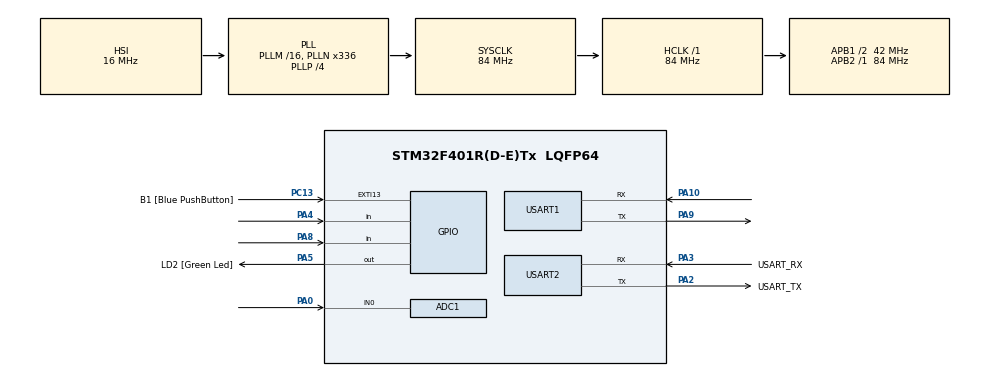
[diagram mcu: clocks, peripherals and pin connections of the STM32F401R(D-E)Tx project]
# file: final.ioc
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ADC1.Channel-1\#ChannelRegularConversion=ADC_CHANNEL_0
ADC1.NbrOfConversionFlag=1
ADC1.Rank-1\#ChannelRegularConversion=1
ADC1.SamplingTime-1\#ChannelRegularConversion=ADC_SAMPLETIME_3CYCLES
ADC1.master=1
Mcu.Family=STM32F4
Mcu.Name=STM32F401R(D-E)Tx
Mcu.Package=LQFP64
NVIC.PriorityGroup=NVIC_PRIORITYGROUP_0
PA0-WKUP.Signal=ADCx_IN0
PA10.Mode=Asynchronous
PA10.Signal=USART1_RX
PA13.GPIO_Label=TMS
PA13.Mode=Serial_Wire
PA13.Signal=SYS_JTMS-SWDIO
PA14.GPIO_Label=TCK
PA14.Mode=Serial_Wire
PA14.Signal=SYS_JTCK-SWCLK
PA2.GPIO_Label=USART_TX
PA2.GPIO_Mode=GPIO_MODE_AF_PP
PA2.GPIO_PuPd=GPIO_NOPULL
PA2.GPIO_Speed=GPIO_SPEED_FREQ_LOW
PA2.Mode=Asynchronous
PA2.Signal=USART2_TX
PA3.GPIO_Label=USART_RX
PA3.GPIO_Mode=GPIO_MODE_AF_PP
PA3.GPIO_PuPd=GPIO_NOPULL
PA3.GPIO_Speed=GPIO_SPEED_FREQ_LOW
PA3.Mode=Asynchronous
PA3.Signal=USART2_RX
PA4.Signal=GPIO_Input
PA5.GPIO_Label=LD2 [Green Led]
PA5.GPIO_Mode=GPIO_MODE_OUTPUT_PP
PA5.GPIO_PuPd=GPIO_NOPULL
PA5.GPIO_Speed=GPIO_SPEED_FREQ_LOW
PA5.Signal=GPIO_Output
PA8.Signal=GPIO_Input
PA9.Mode=Asynchronous
PA9.Signal=USART1_TX
PB3.GPIO_Label=SWO
PB3.Signal=SYS_JTDO-SWO
PC13-ANTI_TAMP.GPIO_Label=B1 [Blue PushButton]
PC13-ANTI_TAMP.GPIO_ModeDefaultEXTI=GPIO_MODE_IT_FALLING
PC13-ANTI_TAMP.GPIO_PuPd=GPIO_NOPULL
PC13-ANTI_TAMP.Signal=GPXTI13
PC14-OSC32_IN.Mode=LSE-External-Oscillator
PC14-OSC32_IN.Signal=RCC_OSC32_IN
PC15-OSC32_OUT.Mode=LSE-External-Oscillator
PC15-OSC32_OUT.Signal=RCC_OSC32_OUT
PH0\ -\ OSC_IN.Mode=HSE-External-Clock-Source
PH0\ -\ OSC_IN.Signal=RCC_OSC_IN
PH1\ -\ OSC_OUT.Mode=HSE-External-Clock-Source
PH1\ -\ OSC_OUT.Signal=RCC_OSC_OUT
ProjectManager.HeapSize=0x200
ProjectManager.StackSize=0x400
ProjectManager.TargetToolchain=STM32CubeIDE
RCC.48MHZClocksFreq_Value=48000000
RCC.AHBFreq_Value=84000000
RCC.APB1CLKDivider=RCC_HCLK_DIV2
RCC.APB1Freq_Value=42000000
RCC.APB1TimFreq_Value=84000000
RCC.APB2Freq_Value=84000000
RCC.APB2TimFreq_Value=84000000
RCC.CortexFreq_Value=84000000
RCC.HCLKFreq_Value=84000000
RCC.HSE_VALUE=8000000
RCC.HSI_VALUE=16000000
RCC.PLLN=336
RCC.PLLP=RCC_PLLP_DIV4
RCC.PLLQ=7
RCC.SYSCLKFreq_VALUE=84000000
RCC.SYSCLKSource=RCC_SYSCLKSOURCE_PLLCLK
RCC.VCOOutputFreq_Value=336000000
SH.ADCx_IN0.0=ADC1_IN0,IN0
USART1.VirtualMode=VM_ASYNC
USART2.VirtualMode=VM_ASYNC
board=NUCLEO-F401RE

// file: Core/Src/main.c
/* USER CODE BEGIN Header */
/**
  ******************************************************************************
  * @file           : main.c
  * @brief          : Main program body
  ******************************************************************************
  * @attention
  *
  * Copyright (c) 2024 STMicroelectronics.
  * All rights reserved.
  *
  * This software is licensed under terms that can be found in the LICENSE file
  * in the root directory of this software component.
  * If no LICENSE file comes with this software, it is provided AS-IS.
  *
  ******************************************************************************
  */
/* USER CODE END Header */
#include "main.h"

/* USER CODE BEGIN Includes */
#include "dht.h"
#include "math.h"
/* USER CODE END Includes */

ADC_HandleTypeDef hadc1;

UART_HandleTypeDef huart1;
UART_HandleTypeDef huart2;

void SystemClock_Config(void);
static void MX_GPIO_Init(void);
static void MX_USART2_UART_Init(void);
static void MX_USART1_UART_Init(void);
static void MX_ADC1_Init(void);

/* USER CODE BEGIN 0 */
DHT_DataTypedef DHT22_Data;
float humidval = 0.0; // 40 to 100
float tempval = 0.0; // -40 to 80
int adcval = 0;
float coa = 19.32, cob = -0.64; //coa *
/* USER CODE END 0 */

int main(void)
{

  /* MCU Configuration--------------------------------------------------------*/

  /* Reset of all peripherals, Initializes the Flash interface and the Systick. */
  HAL_Init();

  /* USER CODE BEGIN Init */
//  char test[] = "p10-20-30";
//  char test2[] = "p69-79-89";
//  char test3[] = "p11-22-33";
  char buf[256];
  char buf2[256];

//  int cnt;
  /* USER CODE END Init */

  /* Configure the system clock */
  SystemClock_Config();

  /* Initialize all configured peripherals */
  MX_GPIO_Init();
  MX_USART2_UART_Init();
  MX_USART1_UART_Init();
  MX_ADC1_Init();

  /* Infinite loop */
  /* USER CODE BEGIN WHILE */
  while (1)
  { //temp, humid, co
	  HAL_ADC_Start(&hadc1);
	  if (HAL_ADC_PollForConversion(&hadc1, 1000) == HAL_OK) {
		  adcval = HAL_ADC_GetValue(&hadc1);
	  }
	  DHT_GetData(&DHT22_Data);
      tempval = DHT22_Data.Temperature;
      humidval = DHT22_Data.Humidity;
      if (humidval > 100) humidval = 100;
      if (humidval < 0) humidval = 0;
      if (tempval > 80) tempval = 80;
      if (tempval < -40) tempval = -40;
      if (HAL_GPIO_ReadPin(GPIOA, GPIO_PIN_8) == 0) {
    	  adcval = 1023;
      }
      //vout = (adcval /1023) * 5
      //ratio = (5 - vout) / vout
      //ppm = coa * ratio^cob
      float vout = (adcval/1023.0) * 5.0;
      float ratio = (5.0 - vout) / vout;
      float ppm = coa * pow(ratio, cob);
      sprintf(buf, "p%d-%d-%d\r\n", (int)tempval, (int)humidval, (int)ppm);
      sprintf(buf2, "p%d-%d-%de", (int)tempval, (int)humidval, (int)ppm);
      HAL_UART_Transmit(&huart2, buf, strlen(buf), 1000);
      HAL_UART_Transmit(&huart1, buf2, strlen(buf2), 1000);
      HAL_Delay(30000);

    /* USER CODE END WHILE */

  }
}

void SystemClock_Config(void)
{
  RCC_OscInitTypeDef RCC_OscInitStruct = {0};
  RCC_ClkInitTypeDef RCC_ClkInitStruct = {0};

  /** Configure the main internal regulator output voltage
  */
  __HAL_RCC_PWR_CLK_ENABLE();
  __HAL_PWR_VOLTAGESCALING_CONFIG(PWR_REGULATOR_VOLTAGE_SCALE2);

  /** Initializes the RCC Oscillators according to the specified parameters
  * in the RCC_OscInitTypeDef structure.
  */
  RCC_OscInitStruct.OscillatorType = RCC_OSCILLATORTYPE_HSI;
  RCC_OscInitStruct.HSIState = RCC_HSI_ON;
  RCC_OscInitStruct.HSICalibrationValue = RCC_HSICALIBRATION_DEFAULT;
  RCC_OscInitStruct.PLL.PLLState = RCC_PLL_ON;
  RCC_OscInitStruct.PLL.PLLSource = RCC_PLLSOURCE_HSI;
  RCC_OscInitStruct.PLL.PLLM = 16;
  RCC_OscInitStruct.PLL.PLLN = 336;
  RCC_OscInitStruct.PLL.PLLP = RCC_PLLP_DIV4;
  RCC_OscInitStruct.PLL.PLLQ = 7;
  if (HAL_RCC_OscConfig(&RCC_OscInitStruct) != HAL_OK)
  {
    Error_Handler();
  }

  /** Initializes the CPU, AHB and APB buses clocks
  */
  RCC_ClkInitStruct.ClockType = RCC_CLOCKTYPE_HCLK|RCC_CLOCKTYPE_SYSCLK
                              |RCC_CLOCKTYPE_PCLK1|RCC_CLOCKTYPE_PCLK2;
  RCC_ClkInitStruct.SYSCLKSource = RCC_SYSCLKSOURCE_PLLCLK;
  RCC_ClkInitStruct.AHBCLKDivider = RCC_SYSCLK_DIV1;
  RCC_ClkInitStruct.APB1CLKDivider = RCC_HCLK_DIV2;
  RCC_ClkInitStruct.APB2CLKDivider = RCC_HCLK_DIV1;

  if (HAL_RCC_ClockConfig(&RCC_ClkInitStruct, FLASH_LATENCY_2) != HAL_OK)
  {
    Error_Handler();
  }
}

static void MX_ADC1_Init(void)
{

  ADC_ChannelConfTypeDef sConfig = {0};

  /** Configure the global features of the ADC (Clock, Resolution, Data Alignment and number of conversion)
  */
  hadc1.Instance = ADC1;
  hadc1.Init.ClockPrescaler = ADC_CLOCK_SYNC_PCLK_DIV4;
  hadc1.Init.Resolution = ADC_RESOLUTION_12B;
  hadc1.Init.ScanConvMode = DISABLE;
  hadc1.Init.ContinuousConvMode = DISABLE;
  hadc1.Init.DiscontinuousConvMode = DISABLE;
  hadc1.Init.ExternalTrigConvEdge = ADC_EXTERNALTRIGCONVEDGE_NONE;
  hadc1.Init.ExternalTrigConv = ADC_SOFTWARE_START;
  hadc1.Init.DataAlign = ADC_DATAALIGN_RIGHT;
  hadc1.Init.NbrOfConversion = 1;
  hadc1.Init.DMAContinuousRequests = DISABLE;
  hadc1.Init.EOCSelection = ADC_EOC_SINGLE_CONV;
  if (HAL_ADC_Init(&hadc1) != HAL_OK)
  {
    Error_Handler();
  }

  /** Configure for the selected ADC regular channel its corresponding rank in the sequencer and its sample time.
  */
  sConfig.Channel = ADC_CHANNEL_0;
  sConfig.Rank = 1;
  sConfig.SamplingTime = ADC_SAMPLETIME_3CYCLES;
  if (HAL_ADC_ConfigChannel(&hadc1, &sConfig) != HAL_OK)
  {
    Error_Handler();
  }

}

static void MX_USART1_UART_Init(void)
{

  huart1.Instance = USART1;
  huart1.Init.BaudRate = 115200;
  huart1.Init.WordLength = UART_WORDLENGTH_8B;
  huart1.Init.StopBits = UART_STOPBITS_1;
  huart1.Init.Parity = UART_PARITY_NONE;
  huart1.Init.Mode = UART_MODE_TX_RX;
  huart1.Init.HwFlowCtl = UART_HWCONTROL_NONE;
  huart1.Init.OverSampling = UART_OVERSAMPLING_16;
  if (HAL_UART_Init(&huart1) != HAL_OK)
  {
    Error_Handler();
  }

}

static void MX_USART2_UART_Init(void)
{

  huart2.Instance = USART2;
  huart2.Init.BaudRate = 115200;
  huart2.Init.WordLength = UART_WORDLENGTH_8B;
  huart2.Init.StopBits = UART_STOPBITS_1;
  huart2.Init.Parity = UART_PARITY_NONE;
  huart2.Init.Mode = UART_MODE_TX_RX;
  huart2.Init.HwFlowCtl = UART_HWCONTROL_NONE;
  huart2.Init.OverSampling = UART_OVERSAMPLING_16;
  if (HAL_UART_Init(&huart2) != HAL_OK)
  {
    Error_Handler();
  }

}

static void MX_GPIO_Init(void)
{
  GPIO_InitTypeDef GPIO_InitStruct = {0};

  /* GPIO Ports Clock Enable */
  __HAL_RCC_GPIOC_CLK_ENABLE();
  __HAL_RCC_GPIOH_CLK_ENABLE();
  __HAL_RCC_GPIOA_CLK_ENABLE();
  __HAL_RCC_GPIOB_CLK_ENABLE();

  /*Configure GPIO pin Output Level */
  HAL_GPIO_WritePin(LD2_GPIO_Port, LD2_Pin, GPIO_PIN_RESET);

  /*Configure GPIO pin : B1_Pin */
  GPIO_InitStruct.Pin = B1_Pin;
  GPIO_InitStruct.Mode = GPIO_MODE_IT_FALLING;
  GPIO_InitStruct.Pull = GPIO_NOPULL;
  HAL_GPIO_Init(B1_GPIO_Port, &GPIO_InitStruct);

  /*Configure GPIO pins : PA4 PA8 */
  GPIO_InitStruct.Pin = GPIO_PIN_4|GPIO_PIN_8;
  GPIO_InitStruct.Mode = GPIO_MODE_INPUT;
  GPIO_InitStruct.Pull = GPIO_NOPULL;
  HAL_GPIO_Init(GPIOA, &GPIO_InitStruct);

  /*Configure GPIO pin : LD2_Pin */
  GPIO_InitStruct.Pin = LD2_Pin;
  GPIO_InitStruct.Mode = GPIO_MODE_OUTPUT_PP;
  GPIO_InitStruct.Pull = GPIO_NOPULL;
  GPIO_InitStruct.Speed = GPIO_SPEED_FREQ_LOW;
  HAL_GPIO_Init(LD2_GPIO_Port, &GPIO_InitStruct);

}

void Error_Handler(void)
{
  __disable_irq();
  while (1)
  {
  }
}
